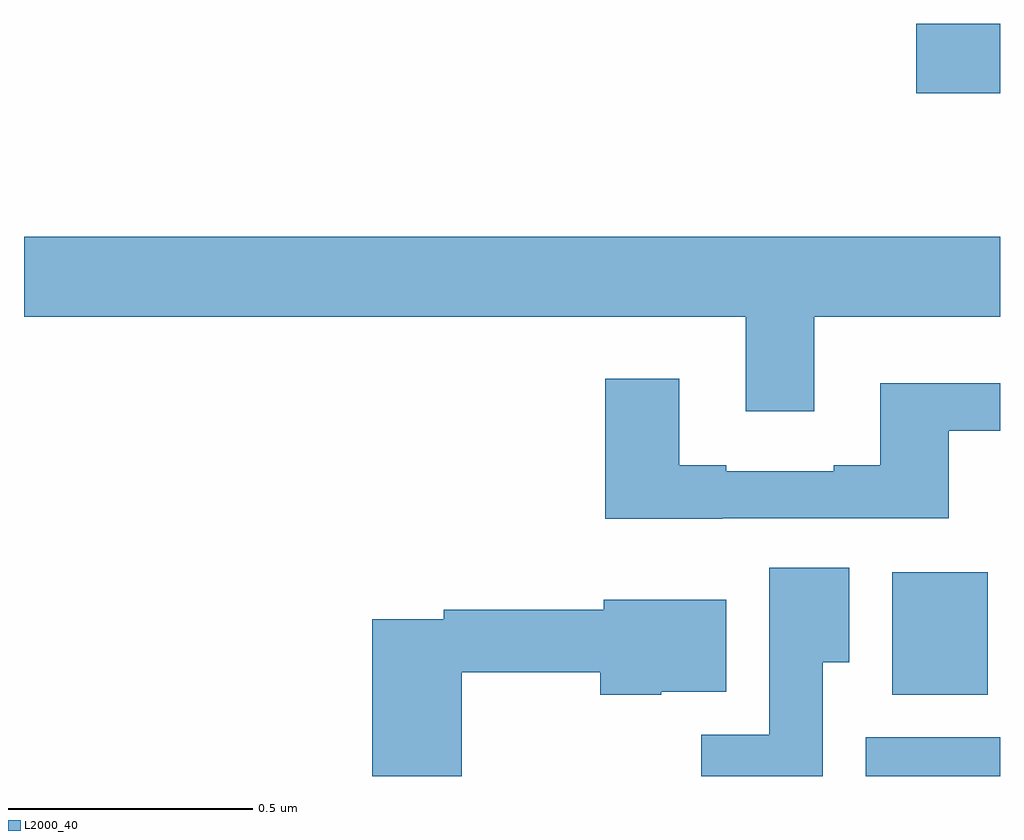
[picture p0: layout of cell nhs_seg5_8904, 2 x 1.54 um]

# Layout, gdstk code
import gdstk
lib = gdstk.Library(unit=1e-6, precision=1e-09)
def R(c, l, rs):  # rectangles x0, y0, x1, y1
    for r in rs: c.add(gdstk.rectangle(r[:2], r[2:], *l))
def P(c, l, *ps):  # polygons
    for p in ps: c.add(gdstk.Polygon(p, *l))
L2000_40 = (2000, 40)

nhs_seg5_8904 = lib.new_cell('nhs_seg5_8904')
R(nhs_seg5_8904, L2000_40, [(228.725,875.799,229,875.878), (228.779,875.966,228.975,876.217), (228.828,877.198,229,877.34)])
P(nhs_seg5_8904, L2000_40, [(228.619,876.74),(229,876.74),(229,876.904),(227,876.904),(227,876.74),(228.479,876.74),(228.479,876.546),(228.619,876.546)],
  [(228.431,876.327),(228.895,876.327),(228.895,876.507),(229,876.507),(229,876.604),(228.755,876.604),(228.755,876.436),(228.659,876.436),(228.659,876.423),(228.439,876.423),(228.439,876.436),(228.343,876.436),(228.343,876.613),(228.191,876.613),(228.191,876.326),(228.431,876.326)],
  [(228.637,876.032),(228.691,876.032),(228.691,876.226),(228.527,876.226),(228.527,875.884),(228.388,875.884),(228.388,875.799),(228.637,875.799)],
  [(227.897,876.012),(228.181,876.012),(228.181,875.966),(228.306,875.966),(228.306,875.972),(228.439,875.972),(228.439,876.16),(228.188,876.16),(228.188,876.14),(227.86,876.14),(227.86,876.12),(227.714,876.12),(227.714,875.799),(227.897,875.799)])

lib.write_gds('nhs_seg5_8904.gds')
